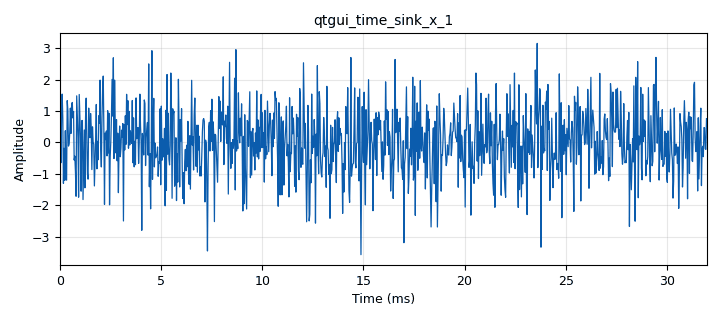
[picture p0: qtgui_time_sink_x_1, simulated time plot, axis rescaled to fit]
options:
  parameters:
    generate_options: qt_gui
    id: stream_to_vector
    output_language: python
    title: Not titled yet
  states: {}

blocks:
- name: samp_rate
  id: variable
  parameters:
    value: '32000'
  states: {}
- name: variable_qtgui_range_0
  id: variable_qtgui_range
  parameters:
    rangeType: int
    start: '0'
    step: '1'
    stop: '2'
    value: '2'
  states: {}
- name: analog_noise_source_x_0
  id: analog_noise_source_x
  parameters:
    amp: '1'
    noise_type: analog.GR_GAUSSIAN
    seed: '0'
    type: float
  states: {}
- name: analog_sig_source_x_0
  id: analog_sig_source_x
  parameters:
    amp: '1'
    freq: '1000'
    offset: '0'
    phase: '0'
    samp_rate: samp_rate
    type: float
    waveform: analog.GR_SIN_WAVE
  states: {}
- name: blocks_selector_0
  id: blocks_selector
  parameters:
    enabled: 'True'
    input_index: variable_qtgui_range_0
    num_inputs: '3'
    num_outputs: '1'
    output_index: '0'
    type: float
  states: {}
- name: blocks_vector_source_x_0
  id: blocks_vector_source_x
  parameters:
    repeat: 'True'
    tags: ''
    type: float
    vector: (1, 1, 1,1,1,1,1,1,1,1,1)
  states: {}
- name: epy_block_0
  id: epy_block
  parameters:
    _source_code: "\"\"\"\nEmbedded Python Blocks:\n\nEach time this file is saved, GRC will instantiate the first class it finds\nto get ports and parameters of your block. The arguments to __init__  will\nbe the parameters. All of them are required to have default values!\n\"\"\"\n\nimport numpy as np\nfrom gnuradio import gr\nimport statistics as stats\n\n\nclass blk(gr.sync_block):  # other base classes are basic_block, decim_block, interp_block\n    \"\"\"Embedded Python Block example - a simple multiply const\"\"\"\n\n    def __init__(self):  # only default arguments here \n        \"\"\"arguments to this function show up as parameters in GRC\"\"\"\n        gr.sync_block.__init__(\n            self,\n            name='Calculo de Magnitudes',   # will show up in GRC\n            in_sig=[np.float32],\n            out_sig=[np.float32,np.float32,np.float32,np.float32,np.float32,]\n        )\n\n        self.acum_anterior = 0\n        self.Ntotales = 0\n        self.acum_anterior1 = 0\n        self.acum_anterior2 = 0\n\n    def work(self, input_items, output_items):\n        x = input_items[0]  \n        y0=output_items[0] #Promedio\n        y1=output_items[1] #Media\n        y2=output_items[2] #RMS\n        y3=output_items[3] #Potencia Promedio\n        y4=output_items[4] #desviacion estandar\n\n        # Calculo del p r o m e d i o\n        N = len(x)\n        self.Ntotales = self.Ntotales + N\n        acumulado = self.acum_anterior + np.cumsum(x)\n        self.acum_anterior = acumulado[N-1]\n        y0[:]= acumulado/self.Ntotales\n\n        # Calculo de la media c u a d r a t i c a\n        x2 = np.multiply(x , x )\n        acumulado1 = self.acum_anterior1+np.cumsum(x2)\n        self.acum_anterior1 = acumulado [N -1]\n        y1[:] = acumulado1/self.Ntotales\n\n        # Calculo de la RMS\n        y2[:] = np.sqrt( y1 )\n\n        # Calculo de la p o t e n c i a p r o m e d i o\n        y3[:] = np.multiply( y2 , y2 )\n\n\n        # Calculo de la d e s v i a c i o n e s t a n d a r\n        x3 = np.multiply(x - y0 ,x - y0 )\n        acumulado2 = self.acum_anterior2 + np.cumsum( x3 )\n        self.acum_anterior2 = acumulado2[N-1]\n        y4[:] = np.sqrt(acumulado2/self.Ntotales )\n\n        return len(x)\n        \n        \n"
  states: {}
- name: qtgui_number_sink_0
  id: qtgui_number_sink
  parameters:
    graph_type: qtgui.NUM_GRAPH_HORIZ
    name: Promedio
    type: float
  states: {}
- name: qtgui_number_sink_1
  id: qtgui_number_sink
  parameters:
    graph_type: qtgui.NUM_GRAPH_HORIZ
    name: Media_cuadratica
    type: float
  states: {}
- name: qtgui_number_sink_2
  id: qtgui_number_sink
  parameters:
    graph_type: qtgui.NUM_GRAPH_HORIZ
    name: RMS
    type: float
  states: {}
- name: qtgui_number_sink_3
  id: qtgui_number_sink
  parameters:
    graph_type: qtgui.NUM_GRAPH_HORIZ
    name: Potencia_promedio
    type: float
  states: {}
- name: qtgui_number_sink_4
  id: qtgui_number_sink
  parameters:
    graph_type: qtgui.NUM_GRAPH_HORIZ
    name: Desviacion estandar
    type: float
  states: {}
- name: qtgui_time_sink_x_1
  id: qtgui_time_sink_x
  parameters:
    size: '1024'
    srate: samp_rate
    type: float
  states: {}

connections:
- [analog_noise_source_x_0, '0', blocks_selector_0, '2']
- [analog_sig_source_x_0, '0', blocks_selector_0, '1']
- [blocks_selector_0, '0', epy_block_0, '0']
- [blocks_selector_0, '0', qtgui_time_sink_x_1, '0']
- [blocks_vector_source_x_0, '0', blocks_selector_0, '0']
- [epy_block_0, '0', qtgui_number_sink_0, '0']
- [epy_block_0, '1', qtgui_number_sink_1, '0']
- [epy_block_0, '2', qtgui_number_sink_2, '0']
- [epy_block_0, '3', qtgui_number_sink_3, '0']
- [epy_block_0, '4', qtgui_number_sink_4, '0']

metadata:
  file_format: 1
